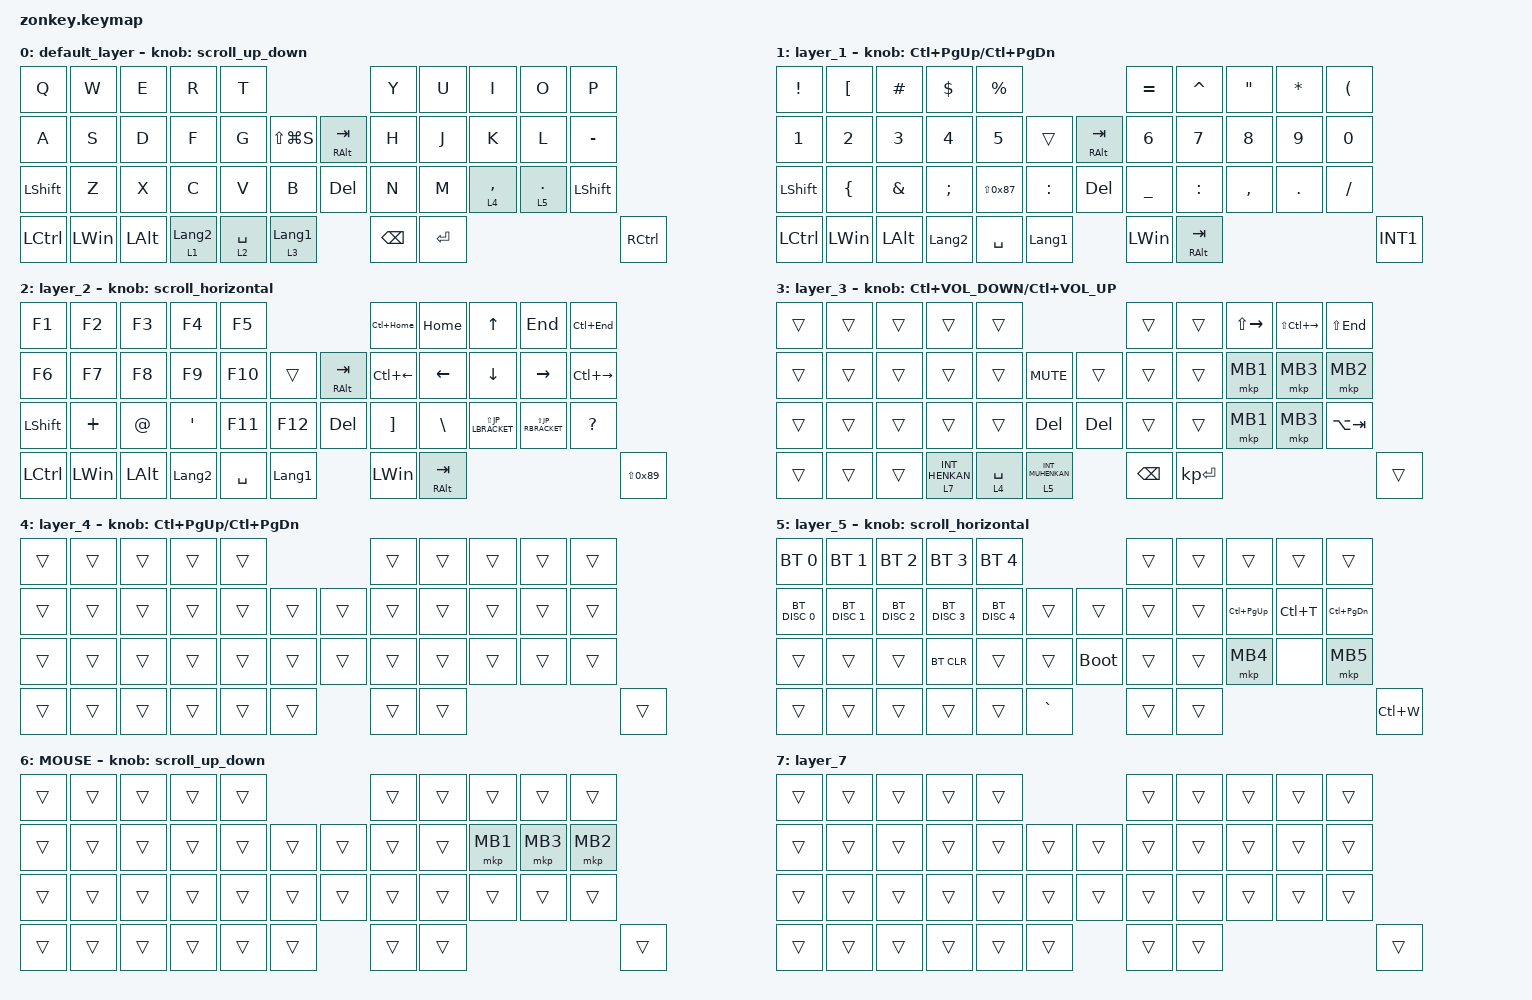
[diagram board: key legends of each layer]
#include <physical_layouts.dtsi>
#include <input/processors.dtsi>
#include <behaviors.dtsi>
#include <dt-bindings/zmk/bt.h>
#include <dt-bindings/zmk/keys.h>
#include <dt-bindings/zmk/pointing.h>

#define ZMK_POINTING_DEFAULT_SCRL_VAL 100
#define DFb 0
#define JIS 1
#define BT 4
#define MOUSE 6
#define JP_DQUOTE       AT                // "
#define JP_AMPERSAND    CARET             // &
#define JP_QUOTE        AMPERSAND         // '
#define JP_EQUAL        UNDER             // =
#define JP_CARET        EQUAL             // ^
#define JP_YEN          0x89              // ¥
#define JP_PLUS         COLON             // +
#define JP_TILDE        PLUS              // ~
#define JP_PIPE         LS(0x89)          // |
#define JP_AT           LEFT_BRACKET      // @
#define JP_COLON        SINGLE_QUOTE      // :
#define JP_ASTERISK     DOUBLE_QUOTES     // *
#define JP_BACKQUOTE    LEFT_BRACE        // `
#define JP_UNDERSCORE   LS(0x87)          // _
#define JP_LBRACKET     RIGHT_BRACKET     // [
#define JP_RBRACKET     BACKSLASH         // ]
#define JP_LPAREN       ASTERISK          // (
#define JP_RPAREN       LEFT_PARENTHESIS  // )
#define JP_LBRACE       RIGHT_BRACE       // {
#define JP_RBRACE       PIPE              // }
#define JP_KANA         LANGUAGE_1        // かな
#define JP_EISU         LANGUAGE_2        // 英数
#define JP_HANZEN       GRAVE             // 半角/全角
#define JP_BSLH  INT1         // (backslash)

// &mkp_input_listener { input-processors = <&zip_temp_layer 6 250>; };

&mt {
    flavor = "balanced";
    quick-tap-ms = <0>;
};

/ {
    combos {
        compatible = "zmk,combos";

        tap_mb4 {
            bindings = <&mkp MB4>;
            key-positions = <20 19>;
        };

        tap_mb5 {
            bindings = <&mkp MB5>;
            key-positions = <20 21>;
        };

        tap_esc {
            bindings = <&kp ESCAPE>;
            key-positions = <1 0>;
        };

        tap_tab {
            bindings = <&kp TAB>;
            key-positions = <10 11>;
        };

        tap_shift_caps {
            bindings = <&kp LS(CAPS)>;
            key-positions = <23 24>;
        };
    };

    macros {
        to_layer_0: to_layer_0 {
            compatible = "zmk,behavior-macro-one-param";
            #binding-cells = <1>;
            bindings = <&to 0 &macro_param_1to1 &kp MACRO_PLACEHOLDER>;
            label = "TO_LAYER_0";
        };

        new_macro: new_macro {
            compatible = "zmk,behavior-macro";
            #binding-cells = <0>;
            bindings = <&none>;
            label = "NEW_MACRO";
        };

        exit_AML: exit_AML {
            compatible = "zmk,behavior-macro";
            wait-ms = <0>;
            tap-ms = <0>;
            #binding-cells = <0>;
            bindings = <&tog_off MOUSE>;
            label = "exit_AML";
        };

        kp_exit_AML: kp_exit_AML {
            compatible = "zmk,behavior-macro-one-param";
            wait-ms = <0>;
            tap-ms = <0>;
            #binding-cells = <1>;
            bindings = <&macro_param_1to1 &kp MACRO_PLACEHOLDER &exit_AML>;
            label = "KP_exit_AML";
        };
    };

    behaviors {
        lt_to_layer_0: lt_to_layer_0 {
            compatible = "zmk,behavior-hold-tap";
            label = "LAYER_TAP_TO_0";
            bindings = <&mo>, <&to_layer_0>;

            #binding-cells = <2>;
            tapping-term-ms = <200>;
        };

        mo2: mo2 {
            compatible = "zmk,behavior-mod-morph";
            #binding-cells = <0>;
            bindings = <&kp N2>, <&kp AT>;

            mods = <(MOD_LSFT|MOD_RSFT)>;
        };

        mo6: mo6 {
            compatible = "zmk,behavior-mod-morph";
            #binding-cells = <0>;
            bindings = <&kp N6>, <&kp CARET>;

            mods = <(MOD_LSFT|MOD_RSFT)>;
        };

        mo7: mo7 {
            compatible = "zmk,behavior-mod-morph";
            #binding-cells = <0>;
            bindings = <&kp N7>, <&kp AMPS>;

            mods = <(MOD_LSFT|MOD_RSFT)>;
        };

        mo8: mo8 {
            compatible = "zmk,behavior-mod-morph";
            #binding-cells = <0>;
            bindings = <&kp N8>, <&kp ASTRK>;

            mods = <(MOD_LSFT|MOD_RSFT)>;
        };

        mo9: mo9 {
            compatible = "zmk,behavior-mod-morph";
            #binding-cells = <0>;
            bindings = <&kp N9>, <&kp LPAR>;

            mods = <(MOD_LSFT|MOD_RSFT)>;
        };

        mo0: mo0 {
            compatible = "zmk,behavior-mod-morph";
            #binding-cells = <0>;
            bindings = <&kp N0>, <&kp LS(N9)>;

            mods = <(MOD_LSFT|MOD_RSFT)>;
        };

        moA: moA {
            compatible = "zmk,behavior-mod-morph";
            #binding-cells = <0>;
            bindings = <&kp MINUS>, <&kp UNDERSCORE>;

            mods = <(MOD_LSFT|MOD_RSFT)>;
        };

        moB: moB {
            compatible = "zmk,behavior-mod-morph";
            #binding-cells = <0>;
            bindings = <&kp EQUAL>, <&kp PLUS>;

            mods = <(MOD_LSFT|MOD_RSFT)>;
        };

        moC: moC {
            compatible = "zmk,behavior-mod-morph";
            #binding-cells = <0>;
            bindings = <&kp INT3>, <&kp JP_PIPE>;

            mods = <(MOD_LSFT|MOD_RSFT)>;
        };

        moD: moD {
            compatible = "zmk,behavior-mod-morph";
            #binding-cells = <0>;
            bindings = <&kp LBKT>, <&kp LBRC>;

            mods = <(MOD_LSFT|MOD_RSFT)>;
        };

        moE: moE {
            compatible = "zmk,behavior-mod-morph";
            #binding-cells = <0>;
            bindings = <&kp RBKT>, <&kp RBRC>;

            mods = <(MOD_LSFT|MOD_RSFT)>;
        };

        moF: moF {
            compatible = "zmk,behavior-mod-morph";
            #binding-cells = <0>;
            bindings = <&kp SEMI>, <&kp KP_PLUS>;

            mods = <(MOD_LSFT|MOD_RSFT)>;
        };

        moG: moG {
            compatible = "zmk,behavior-mod-morph";
            #binding-cells = <0>;
            bindings = <&kp APOSTROPHE>, <&kp DQT>;

            mods = <(MOD_LSFT|MOD_RSFT)>;
        };

        moH: moH {
            compatible = "zmk,behavior-mod-morph";
            #binding-cells = <0>;
            bindings = <&kp BACKSLASH>, <&kp TILDE2>;

            mods = <(MOD_LSFT|MOD_RSFT)>;
        };

        moI: moI {
            compatible = "zmk,behavior-mod-morph";
            #binding-cells = <0>;
            bindings = <&msc SCRL_DOWN>, <&msc SCRL_UP>;

            mods = <(MOD_LSFT|MOD_RSFT)>;
        };

        tog_off: toggle_layer_off {
            compatible = "zmk,behavior-toggle-layer";
            #binding-cells = <1>;
            display-name = "Toggle Layer Off";
            toggle-mode = "off";
        };

        scroll_up_down: behavior_sensor_rotate_mouse_wheel_up_down {
            compatible = "zmk,behavior-sensor-rotate";
            #sensor-binding-cells = <0>;
            bindings = <&msc SCRL_DOWN>, <&msc SCRL_UP>;

            tap-ms = <20>;
        };

        scroll_horizontal: behavior_sensor_rotate_mouse_wheel {
            compatible = "zmk,behavior-sensor-rotate";
            #sensor-binding-cells = <0>;
            bindings = <&msc SCRL_RIGHT>, <&msc SCRL_LEFT>;

            tap-ms = <20>;
        };
    };

    keymap {
        compatible = "zmk,keymap";

        default_layer {
            bindings = <
&kp Q           &kp W         &kp E         &kp R             &kp T                                               &kp Y          &kp U      &kp I        &kp O         &kp P
&kp A           &kp S         &kp D         &kp F             &kp G        &kp LS(LG(S))       &mt RIGHT_ALT TAB  &kp H          &kp J      &kp K        &kp L         &kp MINUS
&kp LEFT_SHIFT  &kp Z         &kp X         &kp C             &kp V        &kp B               &kp DELETE         &kp N          &kp M      &lt 4 COMMA  &lt 5 PERIOD  &kp LEFT_SHIFT
&kp LCTRL       &kp LEFT_WIN  &kp LEFT_ALT  &lt 1 LANGUAGE_2  &lt 2 SPACE  &lt 3 LANGUAGE_1                       &kp BACKSPACE  &kp ENTER                                             &kp RIGHT_CONTROL
            >;

            sensor-bindings = <&scroll_up_down>;
        };

        layer_1 {
            bindings = <
&kp EXCLAMATION   &kp JP_AT         &kp HASH      &kp DOLLAR      &kp PERCENT                                             &kp JP_CARET  &kp JP_AMPERSAND  &kp JP_ASTERISK  &kp JP_LPAREN  &kp JP_RPAREN
&kp NUMBER_1      &kp NUMBER_2      &kp NUMBER_3  &kp NUMBER_4    &kp NUMBER_5       &trans            &mt RIGHT_ALT TAB  &kp NUMBER_6  &kp NUMBER_7      &kp NUMBER_8     &kp NUMBER_9   &kp NUMBER_0
&kp LEFT_SHIFT    &kp JP_BACKQUOTE  &kp JP_QUOTE  &kp SEMICOLON   &kp JP_UNDERSCORE  &kp JP_PLUS       &kp DEL            &kp JP_EQUAL  &kp JP_PLUS       &kp COMMA        &kp PERIOD     &kp SLASH
&kp LEFT_CONTROL  &kp LEFT_WIN      &kp LEFT_ALT  &kp LANGUAGE_2  &kp SPACE          &kp LANGUAGE_1                       &kp LEFT_WIN  &mt RALT TAB                                                     &kp JP_BSLH
            >;

            sensor-bindings = <&inc_dec_kp LC(PAGE_UP) LC(PAGE_DOWN)>;
        };

        layer_2 {
            bindings = <
&kp F1            &kp F2        &kp F3         &kp F4          &kp F5                                          &kp LC(HOME)        &kp HOME         &kp UP_ARROW         &kp END              &kp LC(END)
&kp F6            &kp F7        &kp F8         &kp F9          &kp F10    &trans            &mt RIGHT_ALT TAB  &kp LC(LEFT_ARROW)  &kp LEFT_ARROW   &kp DOWN             &kp RIGHT            &kp LC(RIGHT)
&kp LEFT_SHIFT    &kp JP_TILDE  &kp JP_DQUOTE  &kp JP_COLON    &kp F11    &kp F12           &kp DELETE         &kp JP_LBRACKET     &kp JP_RBRACKET  &kp LS(JP_LBRACKET)  &kp LS(JP_RBRACKET)  &kp QUESTION
&kp LEFT_CONTROL  &kp LEFT_WIN  &kp LEFT_ALT   &kp LANGUAGE_2  &kp SPACE  &kp LANGUAGE_1                       &kp LEFT_WIN        &mt RALT TAB                                                              &kp JP_PIPE
            >;

            sensor-bindings = <&scroll_horizontal>;
        };

        layer_3 {
            bindings = <
&trans  &trans  &trans  &trans            &trans                                      &trans         &trans        &kp LS(RIGHT)  &kp LS(LC(RIGHT))  &kp LS(END)
&trans  &trans  &trans  &trans            &trans       &kp C_MUTE            &trans   &trans         &trans        &mkp MB1       &mkp MB3           &mkp MB2
&trans  &trans  &trans  &trans            &trans       &kp DELETE            &kp DEL  &trans         &trans        &mkp MB1       &mkp MB3           &kp LA(TAB)
&trans  &trans  &trans  &lt 7 INT_HENKAN  &lt 4 SPACE  &lt 5 INT_MUHENKAN             &kp BACKSPACE  &kp KP_ENTER                                                 &trans
            >;

            sensor-bindings = <&inc_dec_kp LC(C_VOLUME_DOWN) LC(C_VOLUME_UP)>;
        };

        layer_4 {
            bindings = <
&trans  &trans  &trans  &trans  &trans                    &trans  &trans  &trans  &trans  &trans
&trans  &trans  &trans  &trans  &trans  &trans    &trans  &trans  &trans  &trans  &trans  &trans
&trans  &trans  &trans  &trans  &trans  &trans    &trans  &trans  &trans  &trans  &trans  &trans
&trans  &trans  &trans  &trans  &trans  &trans            &trans  &trans                          &trans
            >;

            sensor-bindings = <&inc_dec_kp LC(PAGE_UP) LC(PAGE_DOWN)>;
        };

        layer_5 {
            bindings = <
&bt BT_SEL 0   &bt BT_SEL 1   &bt BT_SEL 2   &bt BT_SEL 3   &bt BT_SEL 4                             &trans  &trans  &trans           &trans     &trans
&bt BT_DISC 0  &bt BT_DISC 1  &bt BT_DISC 2  &bt BT_DISC 3  &bt BT_DISC 4  &trans       &trans       &trans  &trans  &kp LC(PAGE_UP)  &kp LC(T)  &kp LC(PAGE_DOWN)
&trans         &trans         &trans         &bt BT_CLR     &trans         &trans       &bootloader  &trans  &trans  &mkp MB4         &none      &mkp MB5
&trans         &trans         &trans         &trans         &trans         &kp GRAVE                 &trans  &trans                                                 &kp LC(W)
            >;

            sensor-bindings = <&scroll_horizontal>;
        };

        MOUSE {
            bindings = <
&trans  &trans  &trans  &trans  &trans                    &trans  &trans  &trans    &trans    &trans
&trans  &trans  &trans  &trans  &trans  &trans    &trans  &trans  &trans  &mkp MB1  &mkp MB3  &mkp MB2
&trans  &trans  &trans  &trans  &trans  &trans    &trans  &trans  &trans  &trans    &trans    &trans
&trans  &trans  &trans  &trans  &trans  &trans            &trans  &trans                                &trans
            >;

            sensor-bindings = <&scroll_up_down>;
        };

        layer_7 {
            bindings = <
&trans  &trans  &trans  &trans  &trans                    &trans  &trans  &trans  &trans  &trans
&trans  &trans  &trans  &trans  &trans  &trans    &trans  &trans  &trans  &trans  &trans  &trans
&trans  &trans  &trans  &trans  &trans  &trans    &trans  &trans  &trans  &trans  &trans  &trans
&trans  &trans  &trans  &trans  &trans  &trans            &trans  &trans                          &trans
            >;
        };
    };
};
